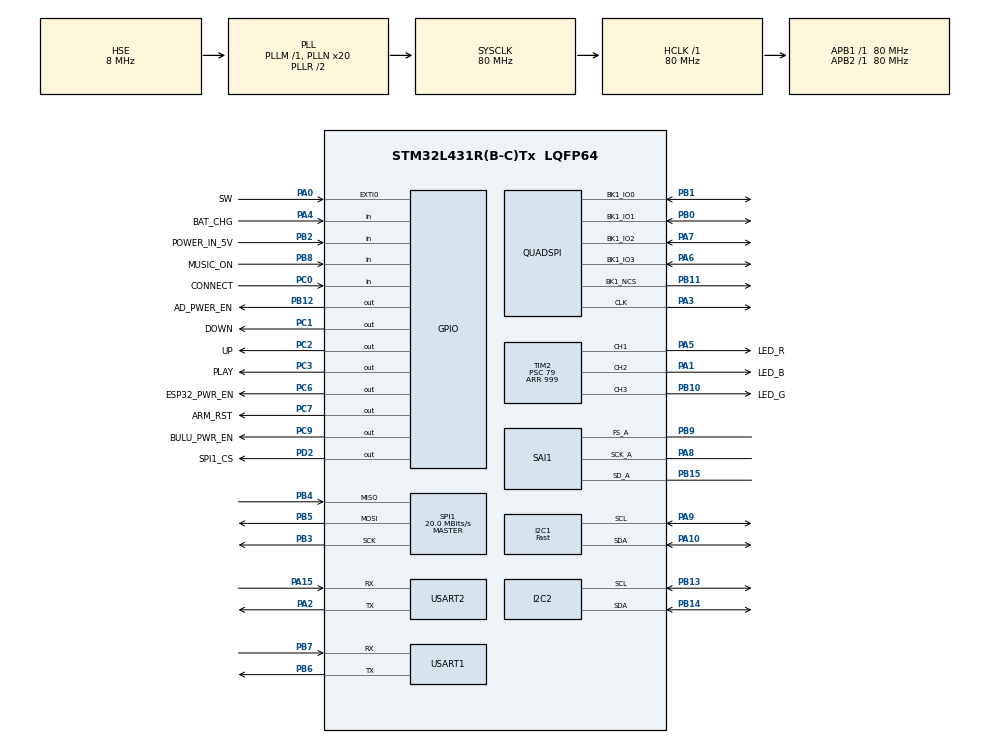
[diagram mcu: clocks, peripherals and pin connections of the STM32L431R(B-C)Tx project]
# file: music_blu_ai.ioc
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Dma.I2C1_TX.1.Direction=DMA_MEMORY_TO_PERIPH
Dma.I2C1_TX.1.Instance=DMA1_Channel6
Dma.I2C1_TX.1.MemDataAlignment=DMA_MDATAALIGN_BYTE
Dma.I2C1_TX.1.MemInc=DMA_MINC_ENABLE
Dma.I2C1_TX.1.Mode=DMA_NORMAL
Dma.I2C1_TX.1.PeriphDataAlignment=DMA_PDATAALIGN_BYTE
Dma.I2C1_TX.1.PeriphInc=DMA_PINC_DISABLE
Dma.I2C1_TX.1.Priority=DMA_PRIORITY_LOW
Dma.Request0=USART1_RX
Dma.Request1=I2C1_TX
Dma.Request2=SAI1_A
Dma.SAI1_A.2.Direction=DMA_PERIPH_TO_MEMORY
Dma.SAI1_A.2.Instance=DMA2_Channel1
Dma.SAI1_A.2.MemDataAlignment=DMA_MDATAALIGN_WORD
Dma.SAI1_A.2.MemInc=DMA_MINC_ENABLE
Dma.SAI1_A.2.Mode=DMA_CIRCULAR
Dma.SAI1_A.2.PeriphDataAlignment=DMA_PDATAALIGN_WORD
Dma.SAI1_A.2.PeriphInc=DMA_PINC_DISABLE
Dma.SAI1_A.2.Priority=DMA_PRIORITY_MEDIUM
Dma.USART1_RX.0.Direction=DMA_PERIPH_TO_MEMORY
Dma.USART1_RX.0.Instance=DMA1_Channel5
Dma.USART1_RX.0.MemDataAlignment=DMA_MDATAALIGN_BYTE
Dma.USART1_RX.0.MemInc=DMA_MINC_ENABLE
Dma.USART1_RX.0.Mode=DMA_CIRCULAR
Dma.USART1_RX.0.PeriphDataAlignment=DMA_PDATAALIGN_BYTE
Dma.USART1_RX.0.PeriphInc=DMA_PINC_DISABLE
Dma.USART1_RX.0.Priority=DMA_PRIORITY_HIGH
I2C1.I2C_Speed_Mode=I2C_Fast
I2C1.Timing=0x00F12981
I2C2.Timing=0x10D19CE4
LPTIM1.ClockPrescaler=LPTIM_PRESCALER_DIV128
Mcu.Family=STM32L4
Mcu.Name=STM32L431R(B-C)Tx
Mcu.Package=LQFP64
NVIC.DMA1_Channel5_IRQn=true\:5\:0\:true\:false\:true\:false\:true\:true
NVIC.DMA1_Channel6_IRQn=true\:6\:0\:true\:false\:true\:false\:true\:true
NVIC.DMA2_Channel1_IRQn=true\:5\:0\:true\:false\:true\:false\:true\:true
NVIC.I2C1_ER_IRQn=true\:6\:0\:true\:false\:true\:true\:true\:true
NVIC.I2C1_EV_IRQn=true\:6\:0\:true\:false\:true\:true\:true\:true
NVIC.LPTIM1_IRQn=true\:5\:0\:true\:false\:true\:true\:true\:true
NVIC.PriorityGroup=NVIC_PRIORITYGROUP_4
NVIC.SAI1_IRQn=true\:5\:0\:true\:false\:true\:true\:true\:true
NVIC.TIM6_DAC_IRQn=true\:15\:0\:false\:false\:true\:false\:true\:true
NVIC.TimeBase=TIM6_DAC_IRQn
NVIC.TimeBaseIP=TIM6
NVIC.USART1_IRQn=true\:5\:0\:true\:false\:true\:true\:true\:true
PA0.GPIO_Label=SW
PA0.GPIO_ModeDefaultEXTI=GPIO_MODE_IT_RISING_FALLING
PA0.Signal=GPXTI0
PA1.GPIO_Label=LED_B
PA1.Signal=S_TIM2_CH2
PA10.Mode=I2C
PA10.Signal=I2C1_SDA
PA13\ (JTMS-SWDIO).Mode=Serial_Wire
PA13\ (JTMS-SWDIO).Signal=SYS_JTMS-SWDIO
PA14\ (JTCK-SWCLK).Mode=Serial_Wire
PA14\ (JTCK-SWCLK).Signal=SYS_JTCK-SWCLK
PA15\ (JTDI).GPIO_PuPd=GPIO_PULLUP
PA15\ (JTDI).Mode=Asynchronous
PA15\ (JTDI).Signal=USART2_RX
PA2.Mode=Asynchronous
PA2.Signal=USART2_TX
PA3.Mode=Single Bank 1
PA3.Signal=QUADSPI_CLK
PA4.GPIO_Label=BAT_CHG
PA4.Signal=GPIO_Input
PA5.GPIO_Label=LED_R
PA5.Signal=S_TIM2_CH1
PA6.Mode=Single Bank 1
PA6.Signal=QUADSPI_BK1_IO3
PA7.Mode=Single Bank 1
PA7.Signal=QUADSPI_BK1_IO2
PA8.Mode=SAI_A_AsyncSlave
PA8.Signal=SAI1_SCK_A
PA9.Mode=I2C
PA9.Signal=I2C1_SCL
PB0.Mode=Single Bank 1
PB0.Signal=QUADSPI_BK1_IO1
PB1.Mode=Single Bank 1
PB1.Signal=QUADSPI_BK1_IO0
PB10.GPIO_Label=LED_G
PB10.Signal=S_TIM2_CH3
PB11.Mode=Single Bank 1
PB11.Signal=QUADSPI_BK1_NCS
PB12.GPIO_Label=AD_PWER_EN
PB12.Signal=GPIO_Output
PB13.Mode=I2C
PB13.Signal=I2C2_SCL
PB14.Mode=I2C
PB14.Signal=I2C2_SDA
PB15.Mode=SAI_A_AsyncSlave
PB15.Signal=SAI1_SD_A
PB2.GPIO_Label=POWER_IN_5V
PB2.Signal=GPIO_Input
PB3\ (JTDO-TRACESWO).Mode=Full_Duplex_Master
PB3\ (JTDO-TRACESWO).Signal=SPI1_SCK
PB4\ (NJTRST).Mode=Full_Duplex_Master
PB4\ (NJTRST).Signal=SPI1_MISO
PB5.Mode=Full_Duplex_Master
PB5.Signal=SPI1_MOSI
PB6.Mode=Asynchronous
PB6.Signal=USART1_TX
PB7.Mode=Asynchronous
PB7.Signal=USART1_RX
PB8.GPIO_Label=MUSIC_ON
PB8.Signal=GPIO_Input
PB9.Mode=SAI_A_AsyncSlave
PB9.Signal=SAI1_FS_A
PC0.GPIO_Label=CONNECT
PC0.Signal=GPIO_Input
PC1.GPIO_Label=DOWN
PC1.Signal=GPIO_Output
PC14-OSC32_IN\ (PC14).Mode=LSE-External-Oscillator
PC14-OSC32_IN\ (PC14).Signal=RCC_OSC32_IN
PC15-OSC32_OUT\ (PC15).Mode=LSE-External-Oscillator
PC15-OSC32_OUT\ (PC15).Signal=RCC_OSC32_OUT
PC2.GPIO_Label=UP
PC2.Signal=GPIO_Output
PC3.GPIO_Label=PLAY
PC3.Signal=GPIO_Output
PC6.GPIO_Label=ESP32_PWR_EN
PC6.Signal=GPIO_Output
PC7.GPIO_Label=ARM_RST
PC7.Signal=GPIO_Output
PC9.GPIO_Label=BULU_PWR_EN
PC9.Signal=GPIO_Output
PD2.GPIO_Label=SPI1_CS
PD2.Signal=GPIO_Output
PH0-OSC_IN\ (PH0).Mode=HSE-External-Oscillator
PH0-OSC_IN\ (PH0).Signal=RCC_OSC_IN
PH1-OSC_OUT\ (PH1).Mode=HSE-External-Oscillator
PH1-OSC_OUT\ (PH1).Signal=RCC_OSC_OUT
ProjectManager.HeapSize=0x1000
ProjectManager.StackSize=0x800
ProjectManager.TargetToolchain=MDK-ARM V5.32
QUADSPI.ChipSelectHighTime=QSPI_CS_HIGH_TIME_4_CYCLE
QUADSPI.ClockPrescaler=2
QUADSPI.FifoThreshold=4
QUADSPI.FlashSize=22
QUADSPI.SampleShifting=QSPI_SAMPLE_SHIFTING_HALFCYCLE
RCC.ADCFreq_Value=80000000
RCC.AHBFreq_Value=80000000
RCC.APB1Freq_Value=80000000
RCC.APB1TimFreq_Value=80000000
RCC.APB2Freq_Value=80000000
RCC.APB2TimFreq_Value=80000000
RCC.CortexFreq_Value=80000000
RCC.HCLKFreq_Value=80000000
RCC.HSE_VALUE=8000000
RCC.HSI48_VALUE=48000000
RCC.HSI_VALUE=16000000
RCC.LPTIM1CLockSelection=RCC_LPTIM1CLKSOURCE_LSE
RCC.MSI_VALUE=4000000
RCC.PLLN=20
RCC.PLLSAI1N=20
RCC.PLLSAI1P=RCC_PLLP_DIV2
RCC.PLLSourceVirtual=RCC_PLLSOURCE_HSE
RCC.RTCClockSelection=RCC_RTCCLKSOURCE_LSE
RCC.SYSCLKFreq_VALUE=80000000
RCC.SYSCLKSource=RCC_SYSCLKSOURCE_PLLCLK
RCC.VCOOutputFreq_Value=160000000
SAI1.DataSize-SAI_A_AsyncSlave=SAI_DATASIZE_32
SAI1.FrameLength-SAI_A_AsyncSlave=64
SAI1.Instance-SAI_A_AsyncSlave=SAI$Index_Block_A
SAI1.VirtualMode-SAI_A_AsyncSlave=VM_SLAVE
SH.S_TIM2_CH1.0=TIM2_CH1,PWM Generation1 CH1
SH.S_TIM2_CH2.0=TIM2_CH2,PWM Generation2 CH2
SH.S_TIM2_CH3.0=TIM2_CH3,PWM Generation3 CH3
SPI1.BaudRatePrescaler=SPI_BAUDRATEPRESCALER_4
SPI1.CalculateBaudRate=20.0 MBits/s
SPI1.DataSize=SPI_DATASIZE_8BIT
SPI1.Direction=SPI_DIRECTION_2LINES
SPI1.Mode=SPI_MODE_MASTER
SPI1.VirtualType=VM_MASTER
TIM2.Channel-PWM\ Generation1\ CH1=TIM_CHANNEL_1
TIM2.Channel-PWM\ Generation2\ CH2=TIM_CHANNEL_2
TIM2.Channel-PWM\ Generation3\ CH3=TIM_CHANNEL_3
TIM2.Period=999
TIM2.Prescaler=79
TIM2.Pulse-PWM\ Generation2\ CH2=500
TIM2.Pulse-PWM\ Generation3\ CH3=500
USART1.VirtualMode-Asynchronous=VM_ASYNC
USART2.VirtualMode-Asynchronous=VM_ASYNC
VP_LPTIM1_VS_LPTIM_counterModeInternalClock.Mode=Counts__internal_clock_event_00
VP_RTC_VS_RTC_Activate.Mode=RTC_Enabled
VP_RTC_VS_RTC_Calendar.Mode=RTC_Calendar
VP_SYS_VS_tim6.Mode=TIM6
board=custom

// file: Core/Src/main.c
/* USER CODE BEGIN Header */
/**
  ******************************************************************************
  * @file           : main.c
  * @brief          : Main program body
  ******************************************************************************
  * @attention
  *
  * Copyright (c) 2026 STMicroelectronics.
  * All rights reserved.
  *
  * This software is licensed under terms that can be found in the LICENSE file
  * in the root directory of this software component.
  * If no LICENSE file comes with this software, it is provided AS-IS.
  *
  ******************************************************************************
  */
/* USER CODE END Header */
#include "main.h"
#include "dma.h"
#include "i2c.h"
#include "lptim.h"
#include "quadspi.h"
#include "rtc.h"
#include "sai.h"
#include "spi.h"
#include "tim.h"
#include "usart.h"
#include "gpio.h"

/* USER CODE BEGIN Includes */
#include "FreeRTOS.h"
#include "task.h"
#include "semphr.h"
#include "user_TasksInit.h"
#include "oled_ui.h"
#include "systemMonitor_app.h"
#include "data_app.h"
#include "led_app.h"
#include "log.h"
#include "music_fft_app.h"
/* USER CODE END Includes */

/* USER CODE BEGIN PV */
static volatile uint8_t s_stop_key_wakeup_latched = 0U;

/* USER CODE END PV */

void SystemClock_Config(void);
/* USER CODE BEGIN PFP */

static void Sleep_DisableStopWakeIrqs(void)
{
  HAL_NVIC_DisableIRQ(USART1_IRQn);
  HAL_NVIC_DisableIRQ(USART2_IRQn);
  HAL_NVIC_DisableIRQ(DMA1_Channel5_IRQn);
  HAL_NVIC_DisableIRQ(DMA1_Channel6_IRQn);
  HAL_NVIC_DisableIRQ(I2C1_EV_IRQn);
  HAL_NVIC_DisableIRQ(I2C1_ER_IRQn);

  NVIC_ClearPendingIRQ(USART1_IRQn);
  NVIC_ClearPendingIRQ(USART2_IRQn);
  NVIC_ClearPendingIRQ(DMA1_Channel5_IRQn);
  NVIC_ClearPendingIRQ(DMA1_Channel6_IRQn);
  NVIC_ClearPendingIRQ(I2C1_EV_IRQn);
  NVIC_ClearPendingIRQ(I2C1_ER_IRQn);
}

static void Sleep_EnableStopKeyWakeIrq(void)
{
  s_stop_key_wakeup_latched = 0U;
  __HAL_GPIO_EXTI_CLEAR_IT(SW_Pin);
  NVIC_ClearPendingIRQ(EXTI0_IRQn);
  HAL_NVIC_SetPriority(EXTI0_IRQn, 5, 0);
  HAL_NVIC_EnableIRQ(EXTI0_IRQn);
}

static void Sleep_DisableStopKeyWakeIrq(void)
{
  HAL_NVIC_DisableIRQ(EXTI0_IRQn);
  NVIC_ClearPendingIRQ(EXTI0_IRQn);
}

static void Sleep_EnableRunIrqs(void)
{
  __HAL_UART_CLEAR_IDLEFLAG(&huart1);
  NVIC_ClearPendingIRQ(USART1_IRQn);
  NVIC_ClearPendingIRQ(USART2_IRQn);
  NVIC_ClearPendingIRQ(DMA1_Channel5_IRQn);
  NVIC_ClearPendingIRQ(DMA1_Channel6_IRQn);
  NVIC_ClearPendingIRQ(I2C1_EV_IRQn);
  NVIC_ClearPendingIRQ(I2C1_ER_IRQn);
  NVIC_ClearPendingIRQ(LPTIM1_IRQn);
  HAL_NVIC_EnableIRQ(USART1_IRQn);
  HAL_NVIC_EnableIRQ(USART2_IRQn);
  HAL_NVIC_EnableIRQ(DMA1_Channel5_IRQn);
  HAL_NVIC_EnableIRQ(DMA1_Channel6_IRQn);
  HAL_NVIC_EnableIRQ(I2C1_EV_IRQn);
  HAL_NVIC_EnableIRQ(I2C1_ER_IRQn);
}

static uint32_t Sleep_ProcessPendingLptimWake(void)
{
  if (__HAL_LPTIM_GET_FLAG(&hlptim1, LPTIM_FLAG_ARRM) != RESET)
  {
    __HAL_LPTIM_CLEAR_FLAG(&hlptim1, LPTIM_FLAG_ARRM);
    EXTI->PR2 = LPTIM_EXTI_LINE_LPTIM1;
    NVIC_ClearPendingIRQ(LPTIM1_IRQn);
    LPTIM_OnTick();
    return 1U;
  }

  return 0U;
}

static void WakeRuntimeTasks(uint8_t wake_display)
{
  g_ui.sys_running = 1U;

  if (xKeyScanTaskWakeSemaphore != NULL)
    xSemaphoreGive(xKeyScanTaskWakeSemaphore);
  if (xLedTaskWakeSemaphore != NULL)
    xSemaphoreGive(xLedTaskWakeSemaphore);
  if (xOLedShowTaskWakeSemaphore != NULL)
    xSemaphoreGive(xOLedShowTaskWakeSemaphore);
  if (xTransmitTaskWakeSemaphore != NULL)
    xSemaphoreGive(xTransmitTaskWakeSemaphore);
  if (xAppDataTaskWakeSemaphore != NULL)
    xSemaphoreGive(xAppDataTaskWakeSemaphore);

  if (wake_display)
  {
    (void)OLED_UI_PostStateEvent(UI_EVT_SHOW_ON, "WakeRuntime");
    if (LED_cmd_queue != NULL)
     {
        LED_EVT_t evt = LED_EVT_BREATH_GREEN;
      xQueueSend(LED_cmd_queue, &evt, 0);
     }
  }
}

static void HandlePowerSignalExti(uint16_t gpio_pin)
{
  TiltKey_t key = MSG_TILT_NONE;
  BaseType_t xHigherPriorityTaskWoken = pdFALSE;

  if (Key_Music_queue == NULL)
  {
    return;
  }

  if (gpio_pin == POWER_IN_5V_Pin)
  {
    GPIO_PinState state = HAL_GPIO_ReadPin(POWER_IN_5V_GPIO_Port, POWER_IN_5V_Pin);
    key = (state == GPIO_PIN_RESET) ? MSG_PWER_IN : MSG_PWER_OUT;
  }
  else if (gpio_pin == BAT_CHG_Pin)
  {
    GPIO_PinState state = HAL_GPIO_ReadPin(BAT_CHG_GPIO_Port, BAT_CHG_Pin);
    key = (state == GPIO_PIN_RESET) ? MSG_PWER_CHAGNE : MSG_PWER_FULL;
  }

  if (key == MSG_TILT_NONE)
  {
    return;
  }

  (void)xQueueSendFromISR(Key_Music_queue, &key, &xHigherPriorityTaskWoken);
  portYIELD_FROM_ISR(xHigherPriorityTaskWoken);
}

void vApplicationMallocFailedHook(void)
{
  taskDISABLE_INTERRUPTS();
  for (;;);
}

void vApplicationStackOverflowHook(TaskHandle_t xTask, char *pcTaskName)
{
  (void)xTask;
  (void)pcTaskName;
  taskDISABLE_INTERRUPTS();
  for (;;);
}

void vApplicationIdleHook(void)
{
}
/* USER CODE END PFP */

int main(void)
{

  /* MCU Configuration--------------------------------------------------------*/

  /* Reset of all peripherals, Initializes the Flash interface and the Systick. */
  HAL_Init();

  /* Configure the system clock */
  SystemClock_Config();

  /* Initialize all configured peripherals */
  MX_GPIO_Init();
  MX_DMA_Init();
  MX_I2C1_Init();
  MX_I2C2_Init();
  MX_QUADSPI_Init();
  MX_SPI1_Init();
  MX_USART2_UART_Init();
  MX_LPTIM1_Init();
  MX_TIM2_Init();
  MX_USART1_UART_Init();
  MX_RTC_Init();
  MX_SAI1_Init();
  /* USER CODE BEGIN 2 */
  // 在这里面再去调用你的 uart_dma_init(...) 开启 DMA 接收
  User_Tasks_Init();
  vTaskStartScheduler();
  /* USER CODE END 2 */

  /* Infinite loop */
  while (1)
  {

  }
}

void SystemClock_Config(void)
{
  RCC_OscInitTypeDef RCC_OscInitStruct = {0};
  RCC_ClkInitTypeDef RCC_ClkInitStruct = {0};

  /** Configure the main internal regulator output voltage
  */
  if (HAL_PWREx_ControlVoltageScaling(PWR_REGULATOR_VOLTAGE_SCALE1) != HAL_OK)
  {
    Error_Handler();
  }

  /** Configure LSE Drive Capability
  */
  HAL_PWR_EnableBkUpAccess();
  __HAL_RCC_LSEDRIVE_CONFIG(RCC_LSEDRIVE_LOW);

  /** Initializes the RCC Oscillators according to the specified parameters
  * in the RCC_OscInitTypeDef structure.
  */
  RCC_OscInitStruct.OscillatorType = RCC_OSCILLATORTYPE_HSE|RCC_OSCILLATORTYPE_LSE;
  RCC_OscInitStruct.HSEState = RCC_HSE_ON;
  RCC_OscInitStruct.LSEState = RCC_LSE_ON;
  RCC_OscInitStruct.PLL.PLLState = RCC_PLL_ON;
  RCC_OscInitStruct.PLL.PLLSource = RCC_PLLSOURCE_HSE;
  RCC_OscInitStruct.PLL.PLLM = 1;
  RCC_OscInitStruct.PLL.PLLN = 20;
  RCC_OscInitStruct.PLL.PLLP = RCC_PLLP_DIV7;
  RCC_OscInitStruct.PLL.PLLQ = RCC_PLLQ_DIV2;
  RCC_OscInitStruct.PLL.PLLR = RCC_PLLR_DIV2;
  if (HAL_RCC_OscConfig(&RCC_OscInitStruct) != HAL_OK)
  {
    Error_Handler();
  }

  /** Initializes the CPU, AHB and APB buses clocks
  */
  RCC_ClkInitStruct.ClockType = RCC_CLOCKTYPE_HCLK|RCC_CLOCKTYPE_SYSCLK
                              |RCC_CLOCKTYPE_PCLK1|RCC_CLOCKTYPE_PCLK2;
  RCC_ClkInitStruct.SYSCLKSource = RCC_SYSCLKSOURCE_PLLCLK;
  RCC_ClkInitStruct.AHBCLKDivider = RCC_SYSCLK_DIV1;
  RCC_ClkInitStruct.APB1CLKDivider = RCC_HCLK_DIV1;
  RCC_ClkInitStruct.APB2CLKDivider = RCC_HCLK_DIV1;

  if (HAL_RCC_ClockConfig(&RCC_ClkInitStruct, FLASH_LATENCY_4) != HAL_OK)
  {
    Error_Handler();
  }
}

/* USER CODE BEGIN 4 */

/**
  * @brief  STOP wake clock recovery without HAL tick dependency.
  */
static void SystemClock_STOPResume(void)
{
    RCC_OscInitTypeDef RCC_OscInitStruct = {0};
    uint32_t timeout;

    MODIFY_REG(PWR->CR1, PWR_CR1_VOS, PWR_CR1_VOS_0);

    RCC_OscInitStruct.OscillatorType = RCC_OSCILLATORTYPE_HSE;
    RCC_OscInitStruct.HSEState = RCC_HSE_ON;
    RCC_OscInitStruct.PLL.PLLState = RCC_PLL_ON;
    RCC_OscInitStruct.PLL.PLLSource = RCC_PLLSOURCE_HSE;
    RCC_OscInitStruct.PLL.PLLM = 1;
    RCC_OscInitStruct.PLL.PLLN = 20;
    RCC_OscInitStruct.PLL.PLLP = RCC_PLLP_DIV7;
    RCC_OscInitStruct.PLL.PLLQ = RCC_PLLQ_DIV2;
    RCC_OscInitStruct.PLL.PLLR = RCC_PLLR_DIV2;
    if (HAL_RCC_OscConfig(&RCC_OscInitStruct) != HAL_OK)
    {
        Error_Handler();
    }

    __HAL_FLASH_SET_LATENCY(FLASH_LATENCY_4);
    if (__HAL_FLASH_GET_LATENCY() != FLASH_LATENCY_4)
    {
        Error_Handler();
    }

    MODIFY_REG(RCC->CFGR, RCC_CFGR_HPRE | RCC_CFGR_PPRE1 | RCC_CFGR_PPRE2,
               RCC_SYSCLK_DIV1 | RCC_HCLK_DIV1 | RCC_HCLK_DIV1);

    MODIFY_REG(RCC->CFGR, RCC_CFGR_SW, RCC_SYSCLKSOURCE_PLLCLK);
    timeout = 200000;
    while (__HAL_RCC_GET_SYSCLK_SOURCE() != RCC_CFGR_SWS_PLL)
    {
        if (--timeout == 0)
        {
            Error_Handler();
        }
    }

    SystemCoreClock = HAL_RCC_GetSysClockFreq();
}
void EXTI0_IRQHandler(void)
{
    if ((__HAL_GPIO_EXTI_GET_IT(SW_Pin) != RESET) && (g_ui.sys_running == 0U))
    {
        s_stop_key_wakeup_latched = 1U;
    }

    HAL_GPIO_EXTI_IRQHandler(SW_Pin);
    PWR->SCR = PWR_SCR_CWUF;
    (void)PWR->SCR;
}

void HAL_GPIO_EXTI_Callback(uint16_t GPIO_Pin)
{
    if (GPIO_Pin == BAT_CHG_Pin || GPIO_Pin == POWER_IN_5V_Pin)
    {
        HandlePowerSignalExti(GPIO_Pin);
    }
}

void HAL_LPTIM_AutoReloadMatchCallback(LPTIM_HandleTypeDef *hlptim)
{
    if (hlptim->Instance == LPTIM1)
    {
        LPTIM_OnTick();
    }
}

void My_PreSleep_Function(uint32_t *x)
{
    if (x == NULL)
    {
        return;
    }

    if ((g_ui.sys_running == 0) && (MusicFFT_IsRunning() == 0U))
    {
        HAL_SuspendTick();
        __HAL_GPIO_EXTI_CLEAR_IT(BAT_CHG_Pin);
        __HAL_GPIO_EXTI_CLEAR_IT(POWER_IN_5V_Pin);
        Sleep_EnableStopKeyWakeIrq();
        __DSB();

        PWR->SCR = PWR_SCR_CWUF;
        (void)PWR->SCR;

        Sleep_DisableStopWakeIrqs();
        *x = 0U;
        HAL_PWR_EnterSTOPMode(PWR_LOWPOWERREGULATOR_ON, PWR_STOPENTRY_WFI);
    }
}

void My_PostSleep_Function(uint32_t x)
{
    (void)x;
    if ((g_ui.sys_running == 0) && (MusicFFT_IsRunning() == 0U))
    {
        uint32_t is_key_wake = s_stop_key_wakeup_latched;
        uint32_t is_power_wake = (EXTI->PR1 & (BAT_CHG_Pin | POWER_IN_5V_Pin)) != 0U;
        uint32_t is_lptim_wake = ((EXTI->PR2 & LPTIM_EXTI_LINE_LPTIM1) != 0U) ||
                                 (__HAL_LPTIM_GET_FLAG(&hlptim1, LPTIM_FLAG_ARRM) != RESET);
        SystemClock_STOPResume();

        Sleep_DisableStopKeyWakeIrq();
        s_stop_key_wakeup_latched = 0U;

        if (is_lptim_wake)
        {
            is_lptim_wake = Sleep_ProcessPendingLptimWake();
        }

        uint32_t has_lptim_event = (g_quote_ready || g_key_idle_timeout || g_bulu_timeout || g_music_timeout || g_connect_music_changed) ? 1U : 0U;

        HAL_ResumeTick();
        Sleep_EnableRunIrqs();

        if (g_connect_music_changed)
        {
            g_connect_music_changed = 0;
        }

        if (is_key_wake || is_power_wake)
        {
            WakeRuntimeTasks(1U);
        }
        else if (is_lptim_wake)
        {
            if (has_lptim_event)
            {
                WakeRuntimeTasks(1U);
            }
        }
        else if (g_key_idle_timeout || g_bulu_timeout || g_music_timeout || g_quote_ready || g_connect_music_changed)
        {
            WakeRuntimeTasks(1U);
        }

        PWR->SCR = PWR_SCR_CWUF;
        (void)PWR->SCR;
    }
}
/* USER CODE END 4 */

void HAL_TIM_PeriodElapsedCallback(TIM_HandleTypeDef *htim)
{
  if (htim->Instance == TIM6)
  {
    HAL_IncTick();
  }
}

void Error_Handler(void)
{
  __disable_irq();
  while (1)
  {
  }
}
